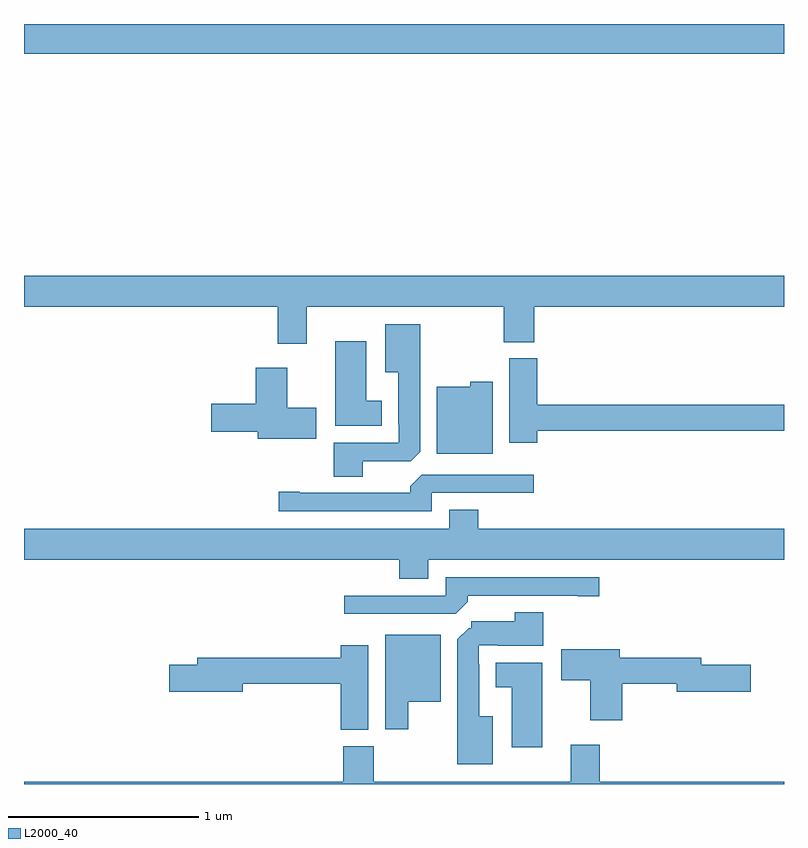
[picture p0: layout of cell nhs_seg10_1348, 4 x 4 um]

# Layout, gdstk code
import gdstk
lib = gdstk.Library(unit=1e-6, precision=1e-09)
def R(c, l, rs):  # rectangles x0, y0, x1, y1
    for r in rs: c.add(gdstk.rectangle(r[:2], r[2:], *l))
def P(c, l, *ps):  # polygons
    for p in ps: c.add(gdstk.Polygon(p, *l))
L2000_40 = (2000, 40)

nhs_seg10_1348 = lib.new_cell('nhs_seg10_1348')
R(nhs_seg10_1348, L2000_40, [(181,1272.344,185,1272.5)])
P(nhs_seg10_1348, L2000_40, [(182.488,1271.012),(183.526,1271.012),(183.526,1270.825),(183.686,1270.825),(183.686,1271.012),(185,1271.012),(185,1271.176),(181,1271.176),(181,1271.012),(182.336,1271.012),(182.336,1270.818),(182.488,1270.818)],
  [(182.782,1270.2),(183.036,1270.2),(183.085,1270.249),(183.085,1270.921),(182.9,1270.921),(182.9,1270.667),(182.969,1270.667),(182.969,1270.393),(182.973,1270.393),(182.973,1270.296),(182.63,1270.296),(182.63,1270.117),(182.782,1270.117)],
  [(182.884,1270.516),(182.8,1270.516),(182.8,1270.831),(182.639,1270.831),(182.639,1270.385),(182.884,1270.385)],
  [(183.701,1270.36),(185,1270.36),(185,1270.496),(183.701,1270.496),(183.701,1270.74),(183.554,1270.74),(183.554,1270.296),(183.701,1270.296)],
  [(182.539,1270.479),(182.386,1270.479),(182.386,1270.69),(182.219,1270.69),(182.219,1270.502),(181.986,1270.502),(181.986,1270.355),(182.231,1270.355),(182.231,1270.316),(182.539,1270.316)],
  [(183.466,1270.618),(183.348,1270.618),(183.348,1270.591),(183.173,1270.591),(183.173,1270.238),(183.466,1270.238)],
  [(183.147,1270.032),(183.682,1270.032),(183.682,1270.128),(183.093,1270.128),(183.032,1270.066),(183.032,1270.032),(182.452,1270.032),(182.452,1270.037),(182.34,1270.037),(182.34,1269.936),(183.147,1269.936)],
  [(183.127,1269.68),(185,1269.68),(185,1269.844),(183.392,1269.844),(183.392,1269.943),(183.239,1269.943),(183.239,1269.844),(181,1269.844),(181,1269.68),(182.975,1269.68),(182.975,1269.581),(183.127,1269.581)],
  [(183.335,1269.458),(183.335,1269.492),(183.914,1269.492),(183.914,1269.487),(184.027,1269.487),(184.027,1269.588),(183.219,1269.588),(183.219,1269.492),(182.685,1269.492),(182.685,1269.396),(183.273,1269.396)],
  [(183.466,1268.857),(183.397,1268.857),(183.397,1269.131),(183.393,1269.131),(183.393,1269.231),(183.493,1269.231),(183.493,1269.227),(183.733,1269.227),(183.733,1269.403),(183.584,1269.403),(183.584,1269.357),(183.354,1269.357),(183.354,1269.321),(183.341,1269.321),(183.281,1269.261),(183.281,1268.603),(183.466,1268.603)],
  [(183.022,1268.933),(183.193,1268.933),(183.193,1269.286),(182.9,1269.286),(182.9,1268.787),(183.022,1268.787)],
  [(182.812,1269.229),(182.666,1269.229),(182.666,1269.164),(181.913,1269.164),(181.913,1269.128),(181.764,1269.128),(181.764,1268.986),(182.152,1268.986),(182.152,1269.028),(182.666,1269.028),(182.666,1268.785),(182.812,1268.785)],
  [(184.148,1269.028),(184.436,1269.028),(184.436,1268.986),(184.825,1268.986),(184.825,1269.128),(184.564,1269.128),(184.564,1269.164),(184.135,1269.164),(184.135,1269.208),(183.828,1269.208),(183.828,1269.046),(183.98,1269.046),(183.98,1268.835),(184.148,1268.835)],
  [(183.727,1269.139),(183.482,1269.139),(183.482,1269.008),(183.566,1269.008),(183.566,1268.694),(183.727,1268.694)],
  [(185,1268.512),(184.031,1268.512),(184.031,1268.707),(183.878,1268.707),(183.878,1268.512),(182.841,1268.512),(182.841,1268.7),(182.681,1268.7),(182.681,1268.512),(181,1268.512),(181,1268.5),(185,1268.5)])

lib.write_gds('nhs_seg10_1348.gds')
